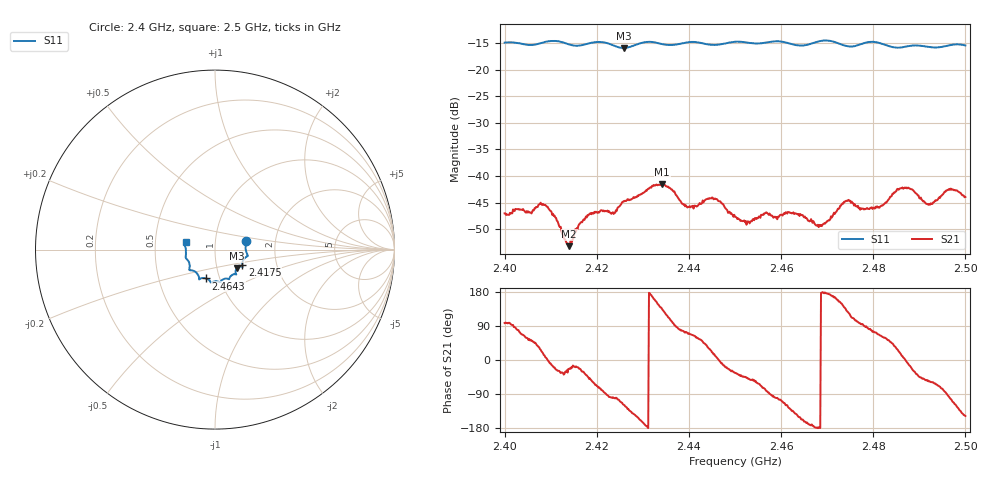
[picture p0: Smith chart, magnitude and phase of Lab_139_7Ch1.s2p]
# Hz S RI R 50
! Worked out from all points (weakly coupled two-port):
!   601 points, 2.4 GHz to 2.5 GHz, reference 50 ohm
!   highest |S21| = -41.57 dB at 2.4342 GHz (marker M1); lowest = -53.2 dB at 2.414 GHz (marker M2)
!   lowest |S11| = -15.9 dB at 2.4258 GHz (marker M3), VSWR 1.38, Z = 62.3 - j13.2 ohm
!   |S11| at or under -10 dB: start of sweep to end of sweep
!   S12 and S22 are empty: the file has one direction only
!   S11 on the Smith chart (normalised r, x): 2.4 GHz: 1.41, +0.14; 2.4175 GHz: 1.33, -0.23; 2.4643 GHz: 0.86, -0.29; 2.5 GHz: 0.72, +0.06
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2.4e9  0.1729 0.0488  -0.000585 0.00441  0 0  0 0
2.408833e9  0.1806 -0.0276  0.0053 0.000695  0 0  0 0
2.414e9  0.1661 -0.0469  0.00201 -0.000864  0 0  0 0
2.416667e9  0.1527 -0.0741  0.00323 -0.00176  0 0  0 0
2.4175e9  0.1516 -0.0834  0.0032 -0.00242  0 0  0 0
2.4235e9  0.1416 -0.094  -0.00066 -0.00451  0 0  0 0
2.425833e9  0.1221 -0.1035  -0.00273 -0.00512  0 0  0 0
2.433333e9  0.1128 -0.1371  -0.00686 0.00456  0 0  0 0
2.434167e9  0.1078 -0.1368  -0.00585 0.00596  0 0  0 0
2.4395e9  0.0798 -0.1616  0.0015 0.00493  0 0  0 0
2.4455e9  0.0516 -0.1628  0.00588 0.0016  0 0  0 0
2.45e9  0.0288 -0.1808  0.00343 -0.00231  0 0  0 0
2.464333e9  -0.0497 -0.1609  -0.00395 -0.00172  0 0  0 0
2.466667e9  -0.0758 -0.1593  -0.00372 -0.000657  0 0  0 0
2.469333e9  -0.0882 -0.1661  -0.00357 0.000245  0 0  0 0
2.474167e9  -0.0987 -0.1346  -0.00383 0.00442  0 0  0 0
2.4785e9  -0.1387 -0.1149  0.000104 0.00493  0 0  0 0
2.483333e9  -0.1407 -0.0901  0.00367 0.00477  0 0  0 0
2.486667e9  -0.1528 -0.0583  0.00764 0.000674  0 0  0 0
2.491833e9  -0.162 -0.027  0.00322 -0.00435  0 0  0 0
2.496333e9  -0.1676 0.0225  -0.000697 -0.00737  0 0  0 0
2.5e9  -0.1636 0.0427  -0.00538 -0.00338  0 0  0 0
